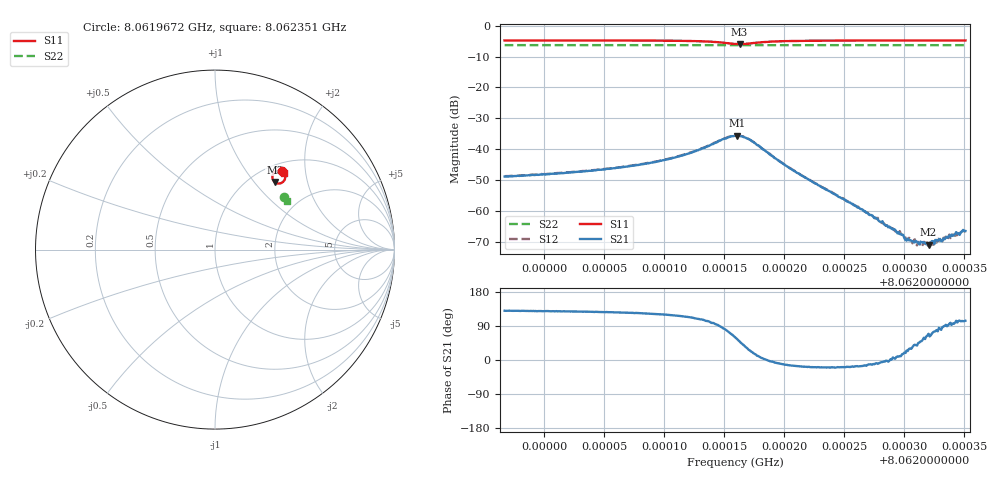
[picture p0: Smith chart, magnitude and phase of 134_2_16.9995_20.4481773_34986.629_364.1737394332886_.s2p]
#  HZ  S  RI  R  50.00
! Rohde & Schwarz Vector Network Analyzer
! Rohde-Schwarz,ZNB20-2Port,1311601062101988,3.16
! Created: UTC 3/20/2024, 10:58:04 PM
! freq[Hz]  re:S11  im:S11  re:S21  im:S21  re:S12  im:S12  re:S22  im:S22
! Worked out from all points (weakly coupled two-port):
!   401 points, 8.0619672 GHz to 8.062351 GHz, reference 50 ohm
!   highest |S21| = -35.62 dB at 8.0621611 GHz (marker M1); lowest = -70.9 dB at 8.0623203 GHz (marker M2)
!   lowest |S11| = -6.0 dB at 8.062163 GHz (marker M3), VSWR 3.02, Z = 63.6 + j64.1 ohm
!   |S11| at or under -10 dB: nowhere
!   |S22| runs from -6.4 to -6.3 dB; largest |S21 - S12| = 0.0012
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8.06196725e9  0.3743 0.4373  -0.00232 0.00276  -0.00219 0.00292  0.3867 0.2908
8.06203154e9  0.3801 0.4316  -0.00265 0.00342  -0.00244 0.00366  0.3888 0.2875
8.0620632e9  0.3835 0.4272  -0.00292 0.00411  -0.00269 0.00431  0.39 0.2859
8.06209582e9  0.3878 0.4198  -0.0033 0.00546  -0.00298 0.00571  0.391 0.2841
8.06212173e9  0.3911 0.4072  -0.00332 0.00799  -0.0029 0.00831  0.3918 0.2823
8.0621438e9  0.3839 0.3825  -0.00083 0.0128  9.15e-05 0.013  0.3919 0.2802
8.06215915e9  0.3452 0.3698  0.00819 0.0143  0.00919 0.0138  0.3904 0.2796
8.06216107e9  0.3385 0.3725  0.00956 0.0135  0.0106 0.0129  0.3903 0.2797
8.06216299e9  0.3323 0.3767  0.0107 0.0124  0.0117 0.0118  0.39 0.28
8.06217258e9  0.3197 0.407  0.0128 0.00526  0.013 0.00451  0.3905 0.281
8.06220329e9  0.3519 0.4397  0.005 -0.00122  0.00497 -0.00148  0.3933 0.2805
8.06222344e9  0.363 0.4392  0.00283 -0.000961  0.00277 -0.00116  0.3943 0.2794
8.0622599e9  0.3729 0.4357  0.00116 -0.000346  0.00112 -0.00042  0.3959 0.2775
8.06228772e9  0.3773 0.4334  0.000557 -1.84e-05  0.000552 -5.38e-05  0.397 0.276
8.06229732e9  0.3786 0.4326  0.000414 7.32e-05  0.000426 -3.21e-06  0.3972 0.2754
8.06230211e9  0.3793 0.4321  0.000299 0.00014  0.000313 0.000125  0.3973 0.2752
8.06231171e9  0.3802 0.4315  0.000216 0.000214  0.00025 0.000193  0.3977 0.2748
8.06232034e9  0.3812 0.4308  0.000101 0.000265  0.000138 0.00023  0.3978 0.2742
8.06232418e9  0.3815 0.4307  9.19e-05 0.000309  9.76e-05 0.000265  0.3981 0.274
8.06233282e9  0.3824 0.4299  9.27e-06 0.000356  8.56e-05 0.000357  0.3985 0.2737
8.06234721e9  0.3837 0.429  -9.38e-05 0.000439  -6.96e-05 0.000446  0.3988 0.2729
8.06235105e9  0.3842 0.4288  -0.000111 0.00046  -7.16e-05 0.000442  0.399 0.2726
